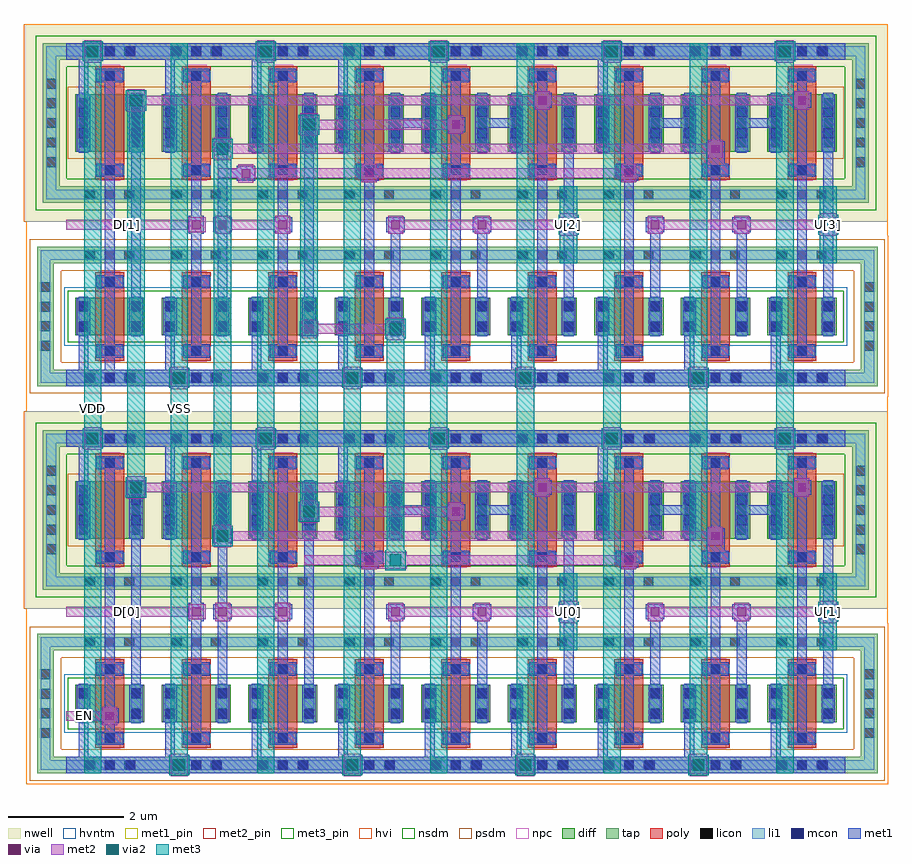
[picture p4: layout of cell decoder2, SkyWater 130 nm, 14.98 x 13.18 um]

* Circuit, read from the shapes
.subckt decoder2 D[0] D[1] EN U[0] U[1] U[2] U[3] VDD VSS
XM1 nor3_raw_10/C EN VSS VSS sky130_fd_pr__nfet_g5v0d10v5 w=0.65 l=0.5
XM2 inverter_raw_11/OUT VSS VSS VSS sky130_fd_pr__nfet_g5v0d10v5 w=0.65 l=0.5
XM3 nor3_raw_10/B D[0] VSS VSS sky130_fd_pr__nfet_g5v0d10v5 w=0.65 l=0.5
XM4 nor3_raw_10/A D[1] VSS VSS sky130_fd_pr__nfet_g5v0d10v5 w=0.65 l=0.5
XM5 nor3_raw_4/B nor3_raw_10/B VSS VSS sky130_fd_pr__nfet_g5v0d10v5 w=0.65 l=0.5
XM6 nor3_raw_4/A nor3_raw_10/A VSS VSS sky130_fd_pr__nfet_g5v0d10v5 w=0.65 l=0.5
XM7 U[0] nor3_raw_4/A VSS VSS sky130_fd_pr__nfet_g5v0d10v5 w=0.65 l=0.5
XM8 U[2] nor3_raw_10/A VSS VSS sky130_fd_pr__nfet_g5v0d10v5 w=0.65 l=0.5
XM9 U[0] nor3_raw_4/B VSS VSS sky130_fd_pr__nfet_g5v0d10v5 w=0.65 l=0.5
XM10 U[2] nor3_raw_4/B VSS VSS sky130_fd_pr__nfet_g5v0d10v5 w=0.65 l=0.5
XM11 U[0] nor3_raw_10/C VSS VSS sky130_fd_pr__nfet_g5v0d10v5 w=0.65 l=0.5
XM12 U[2] nor3_raw_10/C VSS VSS sky130_fd_pr__nfet_g5v0d10v5 w=0.65 l=0.5
XM13 U[1] nor3_raw_4/A VSS VSS sky130_fd_pr__nfet_g5v0d10v5 w=0.65 l=0.5
XM14 U[3] nor3_raw_10/A VSS VSS sky130_fd_pr__nfet_g5v0d10v5 w=0.65 l=0.5
XM15 U[1] nor3_raw_10/B VSS VSS sky130_fd_pr__nfet_g5v0d10v5 w=0.65 l=0.5
XM16 U[3] nor3_raw_10/B VSS VSS sky130_fd_pr__nfet_g5v0d10v5 w=0.65 l=0.5
XM17 U[1] nor3_raw_10/C VSS VSS sky130_fd_pr__nfet_g5v0d10v5 w=0.65 l=0.5
XM18 U[3] nor3_raw_10/C VSS VSS sky130_fd_pr__nfet_g5v0d10v5 w=0.65 l=0.5
XM19 nor3_raw_10/C EN VDD VDD sky130_fd_pr__pfet_g5v0d10v5 w=1 l=0.5
XM20 inverter_raw_11/OUT VSS VDD VDD sky130_fd_pr__pfet_g5v0d10v5 w=1 l=0.5
XM21 nor3_raw_10/B D[0] VDD VDD sky130_fd_pr__pfet_g5v0d10v5 w=1 l=0.5
XM22 nor3_raw_10/A D[1] VDD VDD sky130_fd_pr__pfet_g5v0d10v5 w=1 l=0.5
XM23 nor3_raw_4/B nor3_raw_10/B VDD VDD sky130_fd_pr__pfet_g5v0d10v5 w=1 l=0.5
XM24 nor3_raw_4/A nor3_raw_10/A VDD VDD sky130_fd_pr__pfet_g5v0d10v5 w=1 l=0.5
XM25 n1 nor3_raw_4/A VDD VDD sky130_fd_pr__pfet_g5v0d10v5 w=1 l=0.5
XM26 n2 nor3_raw_10/A VDD VDD sky130_fd_pr__pfet_g5v0d10v5 w=1 l=0.5
XM27 n3 nor3_raw_4/B n1 VDD sky130_fd_pr__pfet_g5v0d10v5 w=1 l=0.5
XM28 n4 nor3_raw_4/B n2 VDD sky130_fd_pr__pfet_g5v0d10v5 w=1 l=0.5
XM29 U[0] nor3_raw_10/C n3 VDD sky130_fd_pr__pfet_g5v0d10v5 w=1 l=0.5
XM30 U[2] nor3_raw_10/C n4 VDD sky130_fd_pr__pfet_g5v0d10v5 w=1 l=0.5
XM31 n5 nor3_raw_4/A VDD VDD sky130_fd_pr__pfet_g5v0d10v5 w=1 l=0.5
XM32 n6 nor3_raw_10/A VDD VDD sky130_fd_pr__pfet_g5v0d10v5 w=1 l=0.5
XM33 n7 nor3_raw_10/B n5 VDD sky130_fd_pr__pfet_g5v0d10v5 w=1 l=0.5
XM34 n8 nor3_raw_10/B n6 VDD sky130_fd_pr__pfet_g5v0d10v5 w=1 l=0.5
XM35 U[1] nor3_raw_10/C n7 VDD sky130_fd_pr__pfet_g5v0d10v5 w=1 l=0.5
XM36 U[3] nor3_raw_10/C n8 VDD sky130_fd_pr__pfet_g5v0d10v5 w=1 l=0.5
.ends

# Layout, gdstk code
import gdstk
lib = gdstk.Library(unit=1e-6, precision=1e-09)
def R(c, l, rs):  # rectangles x0, y0, x1, y1
    for r in rs: c.add(gdstk.rectangle(r[:2], r[2:], *l))
def A(c, l, x, y, w, h, nx, ny, dx, dy):  # array of equal rectangles
    R(c, l, [(x+i*dx, y+j*dy, x+i*dx+w, y+j*dy+h) for i in range(nx) for j in range(ny)])
nwell = (64, 20)
diff = (65, 20)
tap = (65, 44)
poly = (66, 20)
licon = (66, 44)
li1 = (67, 20)
mcon = (67, 44)
met1_pin = (68, 16)
met1 = (68, 20)
via = (68, 44)
met2_pin = (69, 16)
met2 = (69, 20)
via2 = (69, 44)
met3_pin = (70, 16)
met3 = (70, 20)
hvi = (75, 20)
nsdm = (93, 44)
psdm = (94, 20)
npc = (95, 20)
hvntm = (125, 20)

transistor_pair_bus_9 = lib.new_cell('transistor_pair_bus_9')
R(transistor_pair_bus_9, nwell, [(-0.3,3.03,14.68,6.46)])
A(transistor_pair_bus_9, diff, 0.59, 1.065, 1.2, 0.65, 9, 1, 1.5, 0)
A(transistor_pair_bus_9, diff, 0.59, 4.245, 1.2, 1, 9, 1, 1.5, 0)
R(transistor_pair_bus_9, tap, [(-0.07,0.18,14.5,0.47), (-0.07,0.47,0.22,2.31), (14.21,0.47,14.5,2.31), (-0.07,2.31,14.5,2.6), (0.03,3.36,14.35,3.65), (0.03,3.65,0.32,5.84), (14.06,3.65,14.35,5.84), (0.03,5.84,14.35,6.13)])
A(transistor_pair_bus_9, poly, 0.94, 0.625, 0.5, 1.53, 9, 1, 1.5, 0)
A(transistor_pair_bus_9, poly, 0.94, 3.76, 0.5, 1.97, 9, 1, 1.5, 0)
A(transistor_pair_bus_9, licon, 0.765, 0.24, 0.17, 0.17, 3, 2, 0.34, 2.13)
A(transistor_pair_bus_9, licon, 2.265, 0.24, 0.17, 0.17, 3, 2, 0.34, 2.13)
A(transistor_pair_bus_9, licon, 3.765, 0.24, 0.17, 0.17, 3, 2, 0.34, 2.13)
A(transistor_pair_bus_9, licon, 5.265, 0.24, 0.17, 0.17, 3, 2, 0.34, 2.13)
A(transistor_pair_bus_9, licon, 6.765, 0.24, 0.17, 0.17, 3, 2, 0.34, 2.13)
A(transistor_pair_bus_9, licon, 8.265, 0.24, 0.17, 0.17, 3, 2, 0.34, 2.13)
A(transistor_pair_bus_9, licon, 9.765, 0.24, 0.17, 0.17, 3, 2, 0.34, 2.13)
A(transistor_pair_bus_9, licon, 11.265, 0.24, 0.17, 0.17, 3, 2, 0.34, 2.13)
A(transistor_pair_bus_9, licon, 12.765, 0.24, 0.17, 0.17, 3, 2, 0.34, 2.13)
A(transistor_pair_bus_9, licon, 1.105, 0.705, 0.17, 0.17, 9, 2, 1.5, 1.2)
A(transistor_pair_bus_9, licon, -0.01, 0.795, 0.17, 0.17, 1, 4, 0, 0.34)
A(transistor_pair_bus_9, licon, 14.27, 0.795, 0.17, 0.17, 1, 4, 0, 0.34)
A(transistor_pair_bus_9, licon, 0.765, 3.42, 0.17, 0.17, 3, 2, 0.34, 2.48)
A(transistor_pair_bus_9, licon, 2.265, 3.42, 0.17, 0.17, 3, 2, 0.34, 2.48)
A(transistor_pair_bus_9, licon, 3.765, 3.42, 0.17, 0.17, 3, 2, 0.34, 2.48)
A(transistor_pair_bus_9, licon, 5.265, 3.42, 0.17, 0.17, 3, 2, 0.34, 2.48)
A(transistor_pair_bus_9, licon, 6.765, 3.42, 0.17, 0.17, 3, 2, 0.34, 2.48)
A(transistor_pair_bus_9, licon, 8.265, 3.42, 0.17, 0.17, 3, 2, 0.34, 2.48)
A(transistor_pair_bus_9, licon, 9.765, 3.42, 0.17, 0.17, 3, 2, 0.34, 2.48)
A(transistor_pair_bus_9, licon, 11.265, 3.42, 0.17, 0.17, 3, 2, 0.34, 2.48)
A(transistor_pair_bus_9, licon, 12.765, 3.42, 0.17, 0.17, 3, 2, 0.34, 2.48)
A(transistor_pair_bus_9, licon, 1.105, 3.84, 0.17, 0.17, 9, 2, 1.5, 1.64)
A(transistor_pair_bus_9, licon, 0.09, 3.98, 0.17, 0.17, 1, 5, 0, 0.34)
A(transistor_pair_bus_9, licon, 14.12, 3.98, 0.17, 0.17, 1, 5, 0, 0.34)
A(transistor_pair_bus_9, licon, 0.65, 4.32, 0.17, 0.17, 1, 3, 0, 0.34)
A(transistor_pair_bus_9, licon, 1.56, 4.32, 0.17, 0.17, 1, 3, 0, 0.34)
A(transistor_pair_bus_9, licon, 2.15, 4.32, 0.17, 0.17, 1, 3, 0, 0.34)
A(transistor_pair_bus_9, licon, 3.06, 4.32, 0.17, 0.17, 1, 3, 0, 0.34)
A(transistor_pair_bus_9, licon, 3.65, 4.32, 0.17, 0.17, 1, 3, 0, 0.34)
A(transistor_pair_bus_9, licon, 4.56, 4.32, 0.17, 0.17, 1, 3, 0, 0.34)
A(transistor_pair_bus_9, licon, 5.15, 4.32, 0.17, 0.17, 1, 3, 0, 0.34)
A(transistor_pair_bus_9, licon, 6.06, 4.32, 0.17, 0.17, 1, 3, 0, 0.34)
A(transistor_pair_bus_9, licon, 6.65, 4.32, 0.17, 0.17, 1, 3, 0, 0.34)
A(transistor_pair_bus_9, licon, 7.56, 4.32, 0.17, 0.17, 1, 3, 0, 0.34)
A(transistor_pair_bus_9, licon, 8.15, 4.32, 0.17, 0.17, 1, 3, 0, 0.34)
A(transistor_pair_bus_9, licon, 9.06, 4.32, 0.17, 0.17, 1, 3, 0, 0.34)
A(transistor_pair_bus_9, licon, 9.65, 4.32, 0.17, 0.17, 1, 3, 0, 0.34)
A(transistor_pair_bus_9, licon, 10.56, 4.32, 0.17, 0.17, 1, 3, 0, 0.34)
A(transistor_pair_bus_9, licon, 11.15, 4.32, 0.17, 0.17, 1, 3, 0, 0.34)
A(transistor_pair_bus_9, licon, 12.06, 4.32, 0.17, 0.17, 1, 3, 0, 0.34)
A(transistor_pair_bus_9, licon, 12.65, 4.32, 0.17, 0.17, 1, 3, 0, 0.34)
A(transistor_pair_bus_9, licon, 13.56, 4.32, 0.17, 0.17, 1, 3, 0, 0.34)
R(transistor_pair_bus_9, licon, [(0.65,1.135,0.82,1.305), (1.56,1.135,1.73,1.305), (2.15,1.135,2.32,1.305), (3.06,1.135,3.23,1.305), (3.65,1.135,3.82,1.305), (4.56,1.135,4.73,1.305), (5.15,1.135,5.32,1.305), (6.06,1.135,6.23,1.305), (6.65,1.135,6.82,1.305), (7.56,1.135,7.73,1.305), (8.15,1.135,8.32,1.305), (9.06,1.135,9.23,1.305), (9.65,1.135,9.82,1.305), (10.56,1.135,10.73,1.305), (11.15,1.135,11.32,1.305), (12.06,1.135,12.23,1.305), (12.65,1.135,12.82,1.305), (13.56,1.135,13.73,1.305), (0.65,1.475,0.82,1.645), (1.56,1.475,1.73,1.645), (2.15,1.475,2.32,1.645), (3.06,1.475,3.23,1.645), (3.65,1.475,3.82,1.645), (4.56,1.475,4.73,1.645), (5.15,1.475,5.32,1.645), (6.06,1.475,6.23,1.645), (6.65,1.475,6.82,1.645), (7.56,1.475,7.73,1.645), (8.15,1.475,8.32,1.645), (9.06,1.475,9.23,1.645), (9.65,1.475,9.82,1.645), (10.56,1.475,10.73,1.645), (11.15,1.475,11.32,1.645), (12.06,1.475,12.23,1.645), (12.65,1.475,12.82,1.645), (13.56,1.475,13.73,1.645)])
A(transistor_pair_bus_9, li1, 0.94, 0.705, 0.5, 0.17, 9, 2, 1.5, 1.2)
A(transistor_pair_bus_9, li1, 0.94, 3.84, 0.5, 0.17, 9, 2, 1.5, 1.64)
R(transistor_pair_bus_9, li1, [(-0.01,0.24,14.44,0.41), (-0.01,0.41,0.16,2.37), (14.27,0.41,14.44,2.37), (0.65,1.045,0.82,1.735), (1.56,1.045,1.73,1.735), (2.15,1.045,2.32,1.735), (3.06,1.045,3.23,1.735), (3.65,1.045,3.82,1.735), (4.56,1.045,4.73,1.735), (5.15,1.045,5.32,1.735), (6.06,1.045,6.23,1.735), (6.65,1.045,6.82,1.735), (7.56,1.045,7.73,1.735), (8.15,1.045,8.32,1.735), (9.06,1.045,9.23,1.735), (9.65,1.045,9.82,1.735), (10.56,1.045,10.73,1.735), (11.15,1.045,11.32,1.735), (12.06,1.045,12.23,1.735), (12.65,1.045,12.82,1.735), (13.56,1.045,13.73,1.735), (-0.01,2.37,14.44,2.54), (0.09,3.42,14.29,3.59), (0.09,3.59,0.26,5.9), (14.12,3.59,14.29,5.9), (0.65,4.225,0.82,5.265), (1.56,4.225,1.73,5.265), (2.15,4.225,2.32,5.265), (3.06,4.225,3.23,5.265), (3.65,4.225,3.82,5.265), (4.56,4.225,4.73,5.265), (5.15,4.225,5.32,5.265), (6.06,4.225,6.23,5.265), (6.65,4.225,6.82,5.265), (7.56,4.225,7.73,5.265), (8.15,4.225,8.32,5.265), (9.06,4.225,9.23,5.265), (9.65,4.225,9.82,5.265), (10.56,4.225,10.73,5.265), (11.15,4.225,11.32,5.265), (12.06,4.225,12.23,5.265), (12.65,4.225,12.82,5.265), (13.56,4.225,13.73,5.265), (0.09,5.9,14.29,6.07)])
A(transistor_pair_bus_9, mcon, 0.745, 0.24, 0.17, 0.17, 3, 2, 0.36, 5.66)
A(transistor_pair_bus_9, mcon, 2.245, 0.24, 0.17, 0.17, 3, 2, 0.36, 5.66)
A(transistor_pair_bus_9, mcon, 3.745, 0.24, 0.17, 0.17, 3, 2, 0.36, 5.66)
A(transistor_pair_bus_9, mcon, 5.245, 0.24, 0.17, 0.17, 3, 2, 0.36, 5.66)
A(transistor_pair_bus_9, mcon, 6.745, 0.24, 0.17, 0.17, 3, 2, 0.36, 5.66)
A(transistor_pair_bus_9, mcon, 8.245, 0.24, 0.17, 0.17, 3, 2, 0.36, 5.66)
A(transistor_pair_bus_9, mcon, 9.745, 0.24, 0.17, 0.17, 3, 2, 0.36, 5.66)
A(transistor_pair_bus_9, mcon, 11.245, 0.24, 0.17, 0.17, 3, 2, 0.36, 5.66)
A(transistor_pair_bus_9, mcon, 12.745, 0.24, 0.17, 0.17, 3, 2, 0.36, 5.66)
A(transistor_pair_bus_9, mcon, 1.105, 0.705, 0.17, 0.17, 9, 2, 1.5, 1.2)
A(transistor_pair_bus_9, mcon, 1.105, 3.84, 0.17, 0.17, 9, 2, 1.5, 1.64)
R(transistor_pair_bus_9, mcon, [(0.65,1.125,0.82,1.295), (1.56,1.125,1.73,1.295), (2.15,1.125,2.32,1.295), (3.06,1.125,3.23,1.295), (3.65,1.125,3.82,1.295), (4.56,1.125,4.73,1.295), (5.15,1.125,5.32,1.295), (6.06,1.125,6.23,1.295), (6.65,1.125,6.82,1.295), (7.56,1.125,7.73,1.295), (8.15,1.125,8.32,1.295), (9.06,1.125,9.23,1.295), (9.65,1.125,9.82,1.295), (10.56,1.125,10.73,1.295), (11.15,1.125,11.32,1.295), (12.06,1.125,12.23,1.295), (12.65,1.125,12.82,1.295), (13.56,1.125,13.73,1.295), (0.65,1.485,0.82,1.655), (1.56,1.485,1.73,1.655), (2.15,1.485,2.32,1.655), (3.06,1.485,3.23,1.655), (3.65,1.485,3.82,1.655), (4.56,1.485,4.73,1.655), (5.15,1.485,5.32,1.655), (6.06,1.485,6.23,1.655), (6.65,1.485,6.82,1.655), (7.56,1.485,7.73,1.655), (8.15,1.485,8.32,1.655), (9.06,1.485,9.23,1.655), (9.65,1.485,9.82,1.655), (10.56,1.485,10.73,1.655), (11.15,1.485,11.32,1.655), (12.06,1.485,12.23,1.655), (12.65,1.485,12.82,1.655), (13.56,1.485,13.73,1.655), (0.65,4.48,0.82,4.65), (1.56,4.48,1.73,4.65), (2.15,4.48,2.32,4.65), (3.06,4.48,3.23,4.65), (3.65,4.48,3.82,4.65), (4.56,4.48,4.73,4.65), (5.15,4.48,5.32,4.65), (6.06,4.48,6.23,4.65), (6.65,4.48,6.82,4.65), (7.56,4.48,7.73,4.65), (8.15,4.48,8.32,4.65), (9.06,4.48,9.23,4.65), (9.65,4.48,9.82,4.65), (10.56,4.48,10.73,4.65), (11.15,4.48,11.32,4.65), (12.06,4.48,12.23,4.65), (12.65,4.48,12.82,4.65), (13.56,4.48,13.73,4.65), (0.65,4.84,0.82,5.01), (1.56,4.84,1.73,5.01), (2.15,4.84,2.32,5.01), (3.06,4.84,3.23,5.01), (3.65,4.84,3.82,5.01), (4.56,4.84,4.73,5.01), (5.15,4.84,5.32,5.01), (6.06,4.84,6.23,5.01), (6.65,4.84,6.82,5.01), (7.56,4.84,7.73,5.01), (8.15,4.84,8.32,5.01), (9.06,4.84,9.23,5.01), (9.65,4.84,9.82,5.01), (10.56,4.84,10.73,5.01), (11.15,4.84,11.32,5.01), (12.06,4.84,12.23,5.01), (12.65,4.84,12.82,5.01), (13.56,4.84,13.73,5.01)])
R(transistor_pair_bus_9, met1_pin, [(0.44,0.18,13.94,0.47), (0.44,5.84,13.94,6.13)])
A(transistor_pair_bus_9, met1, 0.96, 0.675, 0.46, 0.23, 9, 2, 1.5, 1.2)
A(transistor_pair_bus_9, met1, 1.105, 0.905, 0.17, 0.97, 9, 1, 1.5, 0)
A(transistor_pair_bus_9, met1, 0.96, 3.81, 0.46, 0.23, 9, 2, 1.5, 1.64)
A(transistor_pair_bus_9, met1, 1.105, 4.04, 0.17, 1.41, 9, 1, 1.5, 0)
R(transistor_pair_bus_9, met1, [(0.44,0.18,13.94,0.47), (0.65,1.045,0.82,1.065), (1.56,1.045,1.73,1.065), (2.15,1.045,2.32,1.065), (3.06,1.045,3.23,1.065), (3.65,1.045,3.82,1.065), (4.56,1.045,4.73,1.065), (5.15,1.045,5.32,1.065), (6.06,1.045,6.23,1.065), (6.65,1.045,6.82,1.065), (7.56,1.045,7.73,1.065), (8.15,1.045,8.32,1.065), (9.06,1.045,9.23,1.065), (9.65,1.045,9.82,1.065), (10.56,1.045,10.73,1.065), (11.15,1.045,11.32,1.065), (12.06,1.045,12.23,1.065), (12.65,1.045,12.82,1.065), (13.56,1.045,13.73,1.065), (0.62,1.065,0.85,1.715), (1.53,1.065,1.76,1.715), (2.12,1.065,2.35,1.715), (3.03,1.065,3.26,1.715), (3.62,1.065,3.85,1.715), (4.53,1.065,4.76,1.715), (5.12,1.065,5.35,1.715), (6.03,1.065,6.26,1.715), (6.62,1.065,6.85,1.715), (7.53,1.065,7.76,1.715), (8.12,1.065,8.35,1.715), (9.03,1.065,9.26,1.715), (9.62,1.065,9.85,1.715), (10.53,1.065,10.76,1.715), (11.12,1.065,11.35,1.715), (12.03,1.065,12.26,1.715), (12.62,1.065,12.85,1.715), (13.53,1.065,13.76,1.715), (0.65,1.715,0.82,1.735), (1.56,1.715,1.73,1.735), (2.15,1.715,2.32,1.735), (3.06,1.715,3.23,1.735), (3.65,1.715,3.82,1.735), (4.56,1.715,4.73,1.735), (5.15,1.715,5.32,1.735), (6.06,1.715,6.23,1.735), (6.65,1.715,6.82,1.735), (7.56,1.715,7.73,1.735), (8.15,1.715,8.32,1.735), (9.06,1.715,9.23,1.735), (9.65,1.715,9.82,1.735), (10.56,1.715,10.73,1.735), (11.15,1.715,11.32,1.735), (12.06,1.715,12.23,1.735), (12.65,1.715,12.82,1.735), (13.56,1.715,13.73,1.735), (0.65,4.225,0.82,4.245), (1.56,4.225,1.73,4.245), (2.15,4.225,2.32,4.245), (3.06,4.225,3.23,4.245), (3.65,4.225,3.82,4.245), (4.56,4.225,4.73,4.245), (5.15,4.225,5.32,4.245), (6.06,4.225,6.23,4.245), (6.65,4.225,6.82,4.245), (7.56,4.225,7.73,4.245), (8.15,4.225,8.32,4.245), (9.06,4.225,9.23,4.245), (9.65,4.225,9.82,4.245), (10.56,4.225,10.73,4.245), (11.15,4.225,11.32,4.245), (12.06,4.225,12.23,4.245), (12.65,4.225,12.82,4.245), (13.56,4.225,13.73,4.245), (0.62,4.245,0.85,5.245), (1.53,4.245,1.76,5.245), (2.12,4.245,2.35,5.245), (3.03,4.245,3.26,5.245), (3.62,4.245,3.85,5.245), (4.53,4.245,4.76,5.245), (5.12,4.245,5.35,5.245), (6.03,4.245,6.26,5.245), (6.62,4.245,6.85,5.245), (7.53,4.245,7.76,5.245), (8.12,4.245,8.35,5.245), (9.03,4.245,9.26,5.245), (9.62,4.245,9.85,5.245), (10.53,4.245,10.76,5.245), (11.12,4.245,11.35,5.245), (12.03,4.245,12.26,5.245), (12.62,4.245,12.85,5.245), (13.53,4.245,13.76,5.245), (0.65,5.245,0.82,5.265), (1.56,5.245,1.73,5.265), (2.15,5.245,2.32,5.265), (3.06,5.245,3.23,5.265), (3.65,5.245,3.82,5.265), (4.56,5.245,4.73,5.265), (5.15,5.245,5.32,5.265), (6.06,5.245,6.23,5.265), (6.65,5.245,6.82,5.265), (7.56,5.245,7.73,5.265), (8.15,5.245,8.32,5.265), (9.06,5.245,9.23,5.265), (9.65,5.245,9.82,5.265), (10.56,5.245,10.73,5.265), (11.15,5.245,11.32,5.265), (12.06,5.245,12.23,5.265), (12.65,5.245,12.82,5.265), (13.56,5.245,13.73,5.265), (0.44,5.84,13.94,6.13)])
R(transistor_pair_bus_9, hvi, [(-0.255,-0.005,14.685,2.785), (-0.255,2.785,14.68,3.03), (-0.3,3.03,14.68,6.46)])
R(transistor_pair_bus_9, nsdm, [(0.465,0.94,13.915,1.84), (-0.095,3.235,14.475,3.775), (-0.095,3.775,0.445,5.715), (13.935,3.775,14.475,5.715), (-0.095,5.715,14.475,6.255)])
R(transistor_pair_bus_9, psdm, [(-0.195,0.055,14.625,0.595), (-0.195,0.595,0.345,2.185), (14.085,0.595,14.625,2.185), (-0.195,2.185,14.625,2.725), (0.465,4.12,13.915,5.37)])
A(transistor_pair_bus_9, npc, 1.005, 0.605, 0.37, 0.37, 9, 2, 1.5, 1.2)
A(transistor_pair_bus_9, npc, 1.005, 3.74, 0.37, 0.37, 9, 2, 1.5, 1.64)
R(transistor_pair_bus_9, hvntm, [(0.405,0.88,13.975,1.9)])
transistor_pair_bus_9.add(gdstk.Label('VDD', (7.19,5.985), layer=68, texttype=5))
transistor_pair_bus_9.add(gdstk.Label('VSS', (7.19,0.325), layer=68, texttype=5))

inverter_raw = lib.new_cell('inverter_raw')
R(inverter_raw, met1_pin, [(0.44,0.18,1.94,0.47), (1.105,0.705,1.275,5.65), (1.56,1.045,1.73,5.265), (0.44,5.84,1.94,6.13)])
R(inverter_raw, met1, [(0.44,0.18,1.94,0.47), (0.65,0.47,0.82,1.735), (1.105,0.705,1.275,5.65), (1.56,1.045,1.73,5.265), (0.65,4.225,0.82,5.84), (0.44,5.84,1.94,6.13)])
inverter_raw.add(gdstk.Label('IN', (1.19,3.177), layer=68, texttype=5))
inverter_raw.add(gdstk.Label('OUT', (1.645,3.155), layer=68, texttype=5))
inverter_raw.add(gdstk.Label('VDD', (1.19,5.985), layer=68, texttype=5))
inverter_raw.add(gdstk.Label('VSS', (1.19,0.325), layer=68, texttype=5))

nor3_raw = lib.new_cell('nor3_raw')
A(nor3_raw, met1_pin, 1.105, 0.675, 0.17, 5.005, 3, 1, 1.5, 0)
R(nor3_raw, met1_pin, [(0.44,0.18,4.82,0.47), (4.56,1.045,4.73,5.265), (0.44,5.84,4.82,6.13)])
A(nor3_raw, met1, 0.65, 0.47, 0.17, 1.265, 3, 1, 1.5, 0)
A(nor3_raw, met1, 1.105, 0.675, 0.17, 5.005, 3, 1, 1.5, 0)
A(nor3_raw, met1, 1.56, 1.045, 0.17, 1.805, 3, 1, 1.5, 0)
A(nor3_raw, met1, 1.485, 2.85, 0.32, 0.26, 3, 1, 1.5, 0)
R(nor3_raw, met1, [(0.44,0.18,4.82,0.47), (4.56,3.11,4.73,5.265), (0.65,4.225,0.82,5.84), (1.56,4.225,1.73,4.66), (2.15,4.225,2.32,4.66), (3.06,4.225,3.23,4.66), (3.65,4.225,3.82,4.66), (1.56,4.66,2.32,4.83), (3.06,4.66,3.82,4.83), (1.56,4.83,1.73,5.265), (2.15,4.83,2.32,5.265), (3.06,4.83,3.23,5.265), (3.65,4.83,3.82,5.265), (0.44,5.84,4.82,6.13)])
A(nor3_raw, via, 1.57, 2.905, 0.15, 0.15, 3, 1, 1.5, 0)
A(nor3_raw, met2, 1.515, 2.82, 0.26, 0.075, 3, 2, 1.5, 0.245)
R(nor3_raw, met2, [(1.515,2.895,4.775,3.065)])
nor3_raw.add(gdstk.Label('A', (1.19,3.177), layer=68, texttype=5))
nor3_raw.add(gdstk.Label('B', (2.69,3.177), layer=68, texttype=5))
nor3_raw.add(gdstk.Label('C', (4.19,3.177), layer=68, texttype=5))
nor3_raw.add(gdstk.Label('OUT', (4.645,3.155), layer=68, texttype=5))
nor3_raw.add(gdstk.Label('VDD', (2.63,5.985), layer=68, texttype=5))
nor3_raw.add(gdstk.Label('VSS', (2.63,0.325), layer=68, texttype=5))

decoder2 = lib.new_cell('decoder2')
A(decoder2, met1, 2.515, 0.175, 0.36, 0.3, 4, 2, 3, 6.71)
A(decoder2, met1, 1.015, 5.835, 0.36, 0.3, 5, 2, 3, 6.71)
R(decoder2, met1, [(1.33,1.045,1.65,1.305), (2.86,2.82,3.12,3.14), (3.285,2.85,3.605,3.11), (4.33,2.85,4.65,3.11), (5.83,3.745,6.15,4.005), (10.33,3.745,10.65,4.005), (11.83,4.04,12.15,4.425), (3.285,4.165,3.605,4.425), (4.785,4.585,5.105,4.845), (7.33,4.585,7.65,4.845), (1.785,5.005,2.105,5.265), (8.83,5.005,9.15,5.265), (13.33,5.005,13.65,5.265), (1.405,6.95,1.575,7.535), (1.405,7.535,1.57,7.555), (4.785,7.755,5.105,8.015), (2.86,9.53,3.12,9.85), (3.285,9.56,3.605,9.82), (4.33,9.56,4.65,9.82), (3.69,10.45,4.01,10.495), (5.83,10.455,6.15,10.715), (10.33,10.455,10.65,10.715), (3.36,10.495,4.01,10.665), (3.69,10.665,4.01,10.71), (11.83,10.75,12.15,11.135), (7.33,11.295,7.65,11.555), (8.83,11.715,9.15,11.975), (13.33,11.715,13.65,11.975)])
A(decoder2, via, 2.62, 0.25, 0.15, 0.15, 4, 2, 3, 6.71)
A(decoder2, via, 1.12, 5.91, 0.15, 0.15, 5, 2, 3, 6.71)
R(decoder2, via, [(1.415,1.1,1.565,1.25), (2.915,2.905,3.065,3.055), (3.37,2.905,3.52,3.055), (4.415,2.905,4.565,3.055), (5.915,3.8,6.065,3.95), (10.415,3.8,10.565,3.95), (3.37,4.22,3.52,4.37), (11.915,4.22,12.065,4.37), (4.87,4.64,5.02,4.79), (7.415,4.64,7.565,4.79), (1.87,5.06,2.02,5.21), (8.915,5.06,9.065,5.21), (13.415,5.06,13.565,5.21), (4.87,7.81,5.02,7.96), (2.915,9.615,3.065,9.765), (3.37,9.615,3.52,9.765), (4.415,9.615,4.565,9.765), (3.775,10.505,3.925,10.655), (5.915,10.51,6.065,10.66), (10.415,10.51,10.565,10.66), (11.915,10.93,12.065,11.08), (7.415,11.35,7.565,11.5), (8.915,11.77,9.065,11.92), (13.415,11.77,13.565,11.92)])
R(decoder2, met2_pin, [(0.74,1.09,1.36,1.26), (0.74,2.895,2.86,3.065), (0.74,9.605,2.86,9.775)])
A(decoder2, met2, 2.545, 0.13, 0.3, 0.39, 4, 2, 3, 6.71)
A(decoder2, met2, 1.045, 5.79, 0.3, 0.39, 5, 2, 3, 6.71)
R(decoder2, met2, [(1.36,1.015,1.62,1.09), (0.74,1.09,1.62,1.26), (1.36,1.26,1.62,1.335), (9.295,2.785,9.595,2.895), (13.795,2.785,14.095,2.895), (3.315,2.82,3.575,2.895), (4.36,2.82,4.62,2.895), (2.83,2.85,3.15,2.895), (0.74,2.895,3.15,3.065), (3.315,2.895,4.62,3.065), (9.145,2.895,9.595,3.065), (13.645,2.895,14.095,3.065), (2.83,3.065,3.15,3.11), (3.315,3.065,3.575,3.14), (4.36,3.065,4.62,3.14), (9.295,3.065,9.595,3.175), (13.795,3.065,14.095,3.175), (5.86,3.715,6.12,3.725), (10.36,3.715,10.62,3.79), (5.86,3.725,6.64,3.79), (4.86,3.79,10.62,3.96), (5.86,3.96,6.64,4.025), (10.36,3.96,10.62,4.035), (5.86,4.025,6.12,4.035), (3.295,4.1,3.595,4.21), (11.86,4.135,12.12,4.21), (3.295,4.21,12.12,4.38), (3.295,4.38,3.595,4.49), (11.86,4.38,12.12,4.455), (4.795,4.52,5.095,4.63), (7.36,4.555,7.62,4.63), (4.795,4.63,7.62,4.8), (4.795,4.8,5.095,4.91), (7.36,4.8,7.62,4.875), (1.795,4.94,2.095,5.05), (8.86,4.975,9.12,5.05), (13.36,4.975,13.62,5.05), (1.795,5.05,13.62,5.22), (1.795,5.22,2.095,5.33), (8.86,5.22,9.12,5.295), (13.36,5.22,13.62,5.295), (6.295,7.69,6.595,7.8), (4.815,7.725,5.075,7.8), (4.815,7.8,6.595,7.97), (4.815,7.97,5.075,8.045), (6.295,7.97,6.595,8.08), (9.295,9.495,9.595,9.605), (13.795,9.495,14.095,9.605), (3.315,9.53,3.575,9.605), (4.36,9.53,4.62,9.605), (2.83,9.56,3.15,9.605), (0.74,9.605,3.15,9.775), (3.315,9.605,4.62,9.775), (9.145,9.605,9.595,9.775), (13.645,9.605,14.095,9.775), (2.83,9.775,3.15,9.82), (3.315,9.775,3.575,9.85), (4.36,9.775,4.62,9.85), (9.295,9.775,9.595,9.885), (13.795,9.775,14.095,9.885), (3.72,10.42,3.98,10.5), (5.86,10.425,6.12,10.5), (10.36,10.425,10.62,10.5), (3.36,10.5,10.62,10.67), (3.72,10.67,3.98,10.74), (5.86,10.67,6.12,10.745), (10.36,10.67,10.62,10.745), (3.295,10.81,3.595,10.92), (11.86,10.845,12.12,10.92), (3.295,10.92,12.12,11.09), (3.295,11.09,3.595,11.2), (11.86,11.09,12.12,11.165), (4.795,11.23,5.095,11.34), (7.36,11.265,7.62,11.34), (4.795,11.34,7.62,11.51), (4.795,11.51,5.095,11.62), (7.36,11.51,7.62,11.585), (1.795,11.65,2.095,11.76), (8.86,11.685,9.12,11.76), (13.36,11.685,13.62,11.76), (1.795,11.76,13.62,11.93), (1.795,11.93,2.095,12.04), (8.86,11.93,9.12,12.005), (13.36,11.93,13.62,12.005)])
A(decoder2, via2, 2.595, 0.225, 0.2, 0.2, 4, 2, 3, 6.71)
A(decoder2, via2, 1.095, 5.885, 0.2, 0.2, 5, 2, 3, 6.71)
R(decoder2, via2, [(9.345,2.88,9.545,3.08), (13.845,2.88,14.045,3.08), (6.345,3.775,6.545,3.975), (3.345,4.195,3.545,4.395), (4.845,4.615,5.045,4.815), (1.845,5.035,2.045,5.235), (6.345,7.785,6.545,7.985), (9.345,9.59,9.545,9.79), (13.845,9.59,14.045,9.79), (3.345,10.905,3.545,11.105), (4.845,11.325,5.045,11.525), (1.845,11.745,2.045,11.945)])
R(decoder2, met3_pin, [(1.045,0.18,1.345,12.84), (2.545,0.18,2.845,12.84), (9.295,2.31,9.595,3.65), (13.795,2.31,14.095,3.65), (9.295,9.02,9.595,10.36), (13.795,9.02,14.095,10.36)])
A(decoder2, met3, 2.52, 0.15, 0.35, 0.35, 4, 2, 3, 6.71)
A(decoder2, met3, 1.045, 0.18, 0.3, 5.63, 5, 1, 3, 0)
A(decoder2, met3, 2.545, 0.5, 0.3, 6.36, 4, 1, 3, 0)
A(decoder2, met3, 1.02, 5.81, 0.35, 0.35, 5, 2, 3, 6.71)
A(decoder2, met3, 1.045, 6.16, 0.3, 6.36, 5, 1, 3, 0)
A(decoder2, met3, 2.545, 7.21, 0.3, 5.63, 4, 1, 3, 0)
R(decoder2, met3, [(9.295,2.31,9.595,2.805), (13.795,2.31,14.095,2.805), (9.27,2.805,9.62,3.155), (13.77,2.805,14.12,3.155), (9.295,3.155,9.595,3.65), (13.795,3.155,14.095,3.65), (6.27,3.7,6.62,4.05), (6.295,4.05,6.595,7.71), (3.27,4.12,3.62,4.47), (3.295,4.47,3.595,10.83), (4.77,4.54,5.12,4.89), (4.795,4.89,5.095,11.25), (1.77,4.96,2.12,5.31), (1.795,5.31,2.095,11.67), (6.27,7.71,6.62,8.06), (9.295,9.02,9.595,9.515), (13.795,9.02,14.095,9.515), (9.27,9.515,9.62,9.865), (13.77,9.515,14.12,9.865), (9.295,9.865,9.595,10.36), (13.795,9.865,14.095,10.36), (3.27,10.83,3.62,11.18), (4.77,11.25,5.12,11.6), (1.77,11.67,2.12,12.02)])
R(decoder2, hvi, [(0.045,6.46,14.98,6.705)])
decoder2.add(gdstk.Reference(transistor_pair_bus_9, (0.3,0)))
decoder2.add(gdstk.Reference(inverter_raw, (0.3,0)))
decoder2.add(gdstk.Reference(inverter_raw, (1.8,0)))
decoder2.add(gdstk.Reference(inverter_raw, (3.3,0)))
decoder2.add(gdstk.Reference(nor3_raw, (4.8,0)))
decoder2.add(gdstk.Reference(nor3_raw, (9.3,0)))
decoder2.add(gdstk.Reference(transistor_pair_bus_9, (0.3,6.71)))
decoder2.add(gdstk.Reference(inverter_raw, (1.8,6.71)))
decoder2.add(gdstk.Reference(inverter_raw, (3.3,6.71)))
decoder2.add(gdstk.Reference(nor3_raw, (4.8,6.71)))
decoder2.add(gdstk.Reference(nor3_raw, (9.3,6.71)))
decoder2.add(gdstk.Reference(inverter_raw, (0.3,6.71)))
decoder2.add(gdstk.Label('D[0]', (1.8,2.98), layer=69, texttype=5))
decoder2.add(gdstk.Label('D[1]', (1.8,9.69), layer=69, texttype=5))
decoder2.add(gdstk.Label('EN', (1.05,1.175), layer=69, texttype=5))
decoder2.add(gdstk.Label('U[0]', (9.445,2.98), layer=70, texttype=5))
decoder2.add(gdstk.Label('U[1]', (13.945,2.98), layer=70, texttype=5))
decoder2.add(gdstk.Label('U[2]', (9.445,9.69), layer=70, texttype=5))
decoder2.add(gdstk.Label('U[3]', (13.945,9.69), layer=70, texttype=5))
decoder2.add(gdstk.Label('VDD', (1.195,6.51), layer=70, texttype=5))
decoder2.add(gdstk.Label('VSS', (2.695,6.51), layer=70, texttype=5))

lib.write_gds('decoder2.gds')
